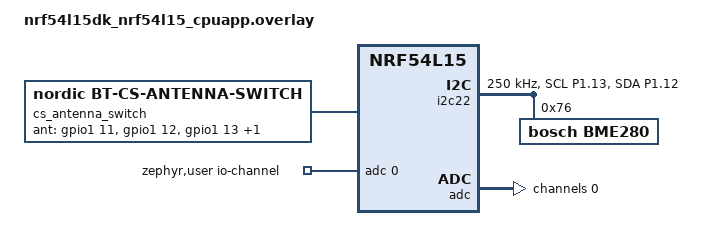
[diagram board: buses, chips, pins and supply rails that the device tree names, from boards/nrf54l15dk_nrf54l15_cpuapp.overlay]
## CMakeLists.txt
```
#
# Copyright (c) 2024 Nordic Semiconductor ASA
#
# SPDX-License-Identifier: LicenseRef-Nordic-5-Clause
#
cmake_minimum_required(VERSION 3.20.0)

find_package(Zephyr REQUIRED HINTS $ENV{ZEPHYR_BASE})
project(channel_sounding_ras_reflector_original)

# NORDIC SDK APP START
target_sources(app PRIVATE
  src/main.c
)
# NORDIC SDK APP END
```

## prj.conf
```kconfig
#
# Copyright (c) 2024 Nordic Semiconductor ASA
#
# SPDX-License-Identifier: LicenseRef-Nordic-5-Clause
#

CONFIG_NCS_SAMPLES_DEFAULTS=y
CONFIG_DK_LIBRARY=y

CONFIG_BT=y
CONFIG_BT_PERIPHERAL=y
CONFIG_BT_SMP=y
CONFIG_BT_DEVICE_NAME="Nordic CS Reflector"
CONFIG_BT_MAX_CONN=4
CONFIG_BT_MAX_PAIRED=4          
CONFIG_BT_GAP_AUTO_UPDATE_CONN_PARAMS=n
CONFIG_BT_BONDABLE=n

# The Ranging Profile recommends a MTU of at least 247 octets.
CONFIG_BT_L2CAP_TX_MTU=498
CONFIG_BT_BUF_ACL_TX_SIZE=502
CONFIG_BT_BUF_ACL_RX_SIZE=502
CONFIG_BT_CTLR_DATA_LENGTH_MAX=251
CONFIG_BT_CTLR_PHY_2M=y

# This reduces RAM usage. Additional RAM is needed to support optional
# features such as mode 3 or multiantenna. Change or remove these if
# using those features
CONFIG_BT_RAS_MODE_3_SUPPORTED=n
CONFIG_BT_RAS_MAX_ANTENNA_PATHS=1
CONFIG_BT_CTLR_SDC_CS_MAX_ANTENNA_PATHS=1
CONFIG_BT_CTLR_SDC_CS_NUM_ANTENNAS=1
CONFIG_BT_CTLR_SDC_CS_STEP_MODE3=n

# This size assumes the largest step size is mode 2 with one antenna path:
# 12 bytes * 160 steps in a subevent. Change or remove this if using mode 3
# or multiantenna.
CONFIG_BT_CHANNEL_SOUNDING_REASSEMBLY_BUFFER_SIZE=1920

# This allows CS and ACL to use different PHYs
CONFIG_BT_TRANSMIT_POWER_CONTROL=y

CONFIG_BT_CHANNEL_SOUNDING=y
CONFIG_BT_RAS=y
CONFIG_BT_RAS_RRSP=y
CONFIG_BT_EXT_ADV=y
CONFIG_BT_DEVICE_NAME="Reflector"
# Allow two advertising sets and increase buffer size
CONFIG_BT_EXT_ADV_MAX_ADV_SET=2
CONFIG_BT_CTLR_ADV_SET=2

CONFIG_I2C=y
# Enable Zephyr’s generic sensor API
CONFIG_SENSOR=y

# Turn on the Bosch BME280 driver
CONFIG_BME280=y
CONFIG_BT_CTLR_CHANNEL_SOUNDING=y
# Enable the Nordic Semiconductor Channel Sounding Controller Service
CONFIG_BT_CTLR_SDC_CS_COUNT=4
CONFIG_BT_SMP_SC_PAIR_ONLY=y
CONFIG_BT_BUF_ACL_TX_COUNT=16
CONFIG_BT_BUF_ACL_RX_COUNT=16
CONFIG_BT_L2CAP_TX_BUF_COUNT=16
CONFIG_HEAP_MEM_POOL_SIZE=49152

CONFIG_ADC=y
```

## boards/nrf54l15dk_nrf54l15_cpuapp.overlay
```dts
/*
 * Copyright (c) 2025 Nordic Semiconductor ASA
 *
 * SPDX-License-Identifier: LicenseRef-Nordic-5-Clause
 */

/ {
	cs_antenna_switch: cs-antenna-config {
		status = "okay";
		compatible = "nordic,bt-cs-antenna-switch";
		ant-gpios = <&gpio1 11 (GPIO_ACTIVE_HIGH)>,
			    <&gpio1 12 (GPIO_ACTIVE_HIGH)>,
			    <&gpio1 13 (GPIO_ACTIVE_HIGH)>,
			    <&gpio1 14 (GPIO_ACTIVE_HIGH)>;
		multiplexing-mode = <0>;
	};

	zephyr,user {
		io-channels = <&adc 0>;
	};
};

&i2c22 {
	status = "okay";
	clock-frequency = <250000>;
	pinctrl-0 = <&i2c22_default>;
	pinctrl-names = "default";
	bme280@76 {
		compatible = "bosch,bme280";
		reg = <0x76>;
	};
};

&pinctrl {
	i2c22_default: i2c22_default {
		group1 {
			psels = <NRF_PSEL(TWIM_SCL, 1, 13)>, <NRF_PSEL(TWIM_SDA, 1, 12)>;
		};
	};
};
/*
 * Copyright (c) 2025 Nordic Semiconductor ASA
 *
 * SPDX-License-Identifier: LicenseRef-Nordic-5-Clause
 */

/ {
	cs_antenna_switch: cs-antenna-config {
		status = "okay";
		compatible = "nordic,bt-cs-antenna-switch";
		ant-gpios = <&gpio1 11 (GPIO_ACTIVE_HIGH)>,
			    <&gpio1 12 (GPIO_ACTIVE_HIGH)>,
			    <&gpio1 13 (GPIO_ACTIVE_HIGH)>,
			    <&gpio1 14 (GPIO_ACTIVE_HIGH)>;
		multiplexing-mode = <0>;
	};

	zephyr,user {
		io-channels = <&adc 0>;
	};
};

&i2c22 {
	status = "okay";
	clock-frequency = <250000>;
	pinctrl-0 = <&i2c22_default>;
	pinctrl-names = "default";
	bme280@76 {
		compatible = "bosch,bme280";
		reg = <0x76>;
	};
};

&pinctrl {
	i2c22_default: i2c22_default {
		group1 {
			psels = <NRF_PSEL(TWIM_SCL, 1, 13)>, <NRF_PSEL(TWIM_SDA, 1, 12)>;
		};
	};
};

&adc {
    status = "okay";
    #address-cells = <1>;
    #size-cells = <0>;

    channel@0 {
        reg = <0>;
        zephyr,input-positive = <NRF_SAADC_AIN0>; /* P1.04 */
        zephyr,reference = "ADC_REF_INTERNAL";
        zephyr,gain = "ADC_GAIN_1_4";
        zephyr,acquisition-time = <ADC_ACQ_TIME(ADC_ACQ_TIME_MICROSECONDS, 20)>;
        zephyr,oversampling = <0>;
        /* zephyr,resolution is optional; you set it in the sequence */
    };
};
&uart20_default {
	group1 {
		psels = <NRF_PSEL(UART_TX, 1, 0)>, <NRF_PSEL(UART_RTS, 1, 6)>;
	};
};
```

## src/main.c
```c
#include <zephyr/types.h>
#include <zephyr/kernel.h>
#include <zephyr/bluetooth/bluetooth.h>
#include <zephyr/sys/reboot.h>
#include <zephyr/bluetooth/conn.h>
#include <zephyr/bluetooth/uuid.h>
#include <zephyr/bluetooth/cs.h>
#include <bluetooth/services/ras.h>
#include <zephyr/logging/log.h>
#include <zephyr/bluetooth/hci.h>
#include <zephyr/bluetooth/gatt.h>
#include <zephyr/drivers/sensor.h>
#include <zephyr/drivers/adc.h>

#define BT_UUID_CUSTOM_SERVICE_VAL   BT_UUID_128_ENCODE(0x12345678, 0x1234, 0x1234, 0x1234, 0x123456789abc)
#define BT_UUID_CUSTOM_CHAR_VAL      BT_UUID_128_ENCODE(0xabcdef01, 0x2345, 0x3456, 0x4567, 0x56789abcdef0)
#define I2C_NODE              		 DT_ALIAS(i2c2)
#define BME280_NODE 				 DT_INST(0, bosch_bme280)
#define ADC_NODE       DT_NODELABEL(adc)
#define ADC_CH_ID      0                /* we used CH0 in the UI */
#define ADC_RES        12
#define DEVICE_ID      				 1
#define MAX_CONN 					 4


static struct bt_uuid_128 custom_service_uuid = BT_UUID_INIT_128(BT_UUID_CUSTOM_SERVICE_VAL);
static struct bt_uuid_128 custom_char_uuid    = BT_UUID_INIT_128(BT_UUID_CUSTOM_CHAR_VAL);


LOG_MODULE_REGISTER(app_main, LOG_LEVEL_INF);

static struct bt_le_ext_adv *adv_conn;
static struct bt_le_ext_adv *adv_data;
static const struct device *adc_dev;
static const struct adc_dt_spec vbat_adc =
    ADC_DT_SPEC_GET_BY_IDX(DT_PATH(zephyr_user), 0);

static K_SEM_DEFINE(sem_connected, 0, 1);


static const struct bt_data ad[] = {
    BT_DATA_BYTES(BT_DATA_FLAGS, (BT_LE_AD_GENERAL | BT_LE_AD_NO_BREDR)),
	BT_DATA_BYTES(BT_DATA_UUID16_ALL, BT_UUID_16_ENCODE(BT_UUID_RANGING_SERVICE_VAL)),
	BT_DATA(BT_DATA_NAME_COMPLETE, CONFIG_BT_DEVICE_NAME, sizeof(CONFIG_BT_DEVICE_NAME) - 1),
};

static  char hello_msg[32] = "HelloBLE";
static const struct device *bme280_dev;

static struct bt_conn *connections[MAX_CONN];
static size_t conn_count;


static int find_conn_index(struct bt_conn *conn) 
{
    for (int i = 0; i < conn_count; i++) if (connections[i] == conn) return i;
    return -1;
}

static void adv_restart_work_fn(struct k_work *work)
{
    bt_le_ext_adv_stop(adv_conn);          /* ignore -EALREADY */
    k_sleep(K_MSEC(20));
    int err = bt_le_ext_adv_start(adv_conn, BT_LE_EXT_ADV_START_DEFAULT);
    if (err) { LOG_ERR("Re-start adv failed (%d)", err); }
}

static int adc_init_channel(void)
{
    if (!device_is_ready(vbat_adc.dev)) {
        LOG_ERR("ADC device not ready");
        return -ENODEV;
    }
    /* This applies gain, reference, acquisition-time, input pin from DT */
    return adc_channel_setup_dt(&vbat_adc);
}

static int read_vbat_mv(int32_t *out_mv)
{
    int16_t raw;
    struct adc_sequence seq = {
        .channels    = BIT(vbat_adc.channel_id),
        .buffer      = &raw,
        .buffer_size = sizeof(raw),
        .resolution  = ADC_RES,   /* 12, as you defined */
    };

    int err = adc_read(vbat_adc.dev, &seq);
    if (err) return err;

    int32_t pin_mv = raw;
    err = adc_raw_to_millivolts(adc_ref_internal(vbat_adc.dev),
                                vbat_adc.channel_cfg.gain,
                                ADC_RES, &pin_mv);
    if (err) return err;

    *out_mv = pin_mv * 2;  /* undo your 100k/100k divider */
    return 0;
}


K_WORK_DEFINE(adv_restart_work, adv_restart_work_fn);

static void connected_cb(struct bt_conn *conn, uint8_t err)
{
	char addr[BT_ADDR_LE_STR_LEN];

	(void)bt_addr_le_to_str(bt_conn_get_dst(conn), addr, sizeof(addr));
	LOG_INF("Connected to %s (err 0x%02X)", addr, err);

	if (err) {
		/* Connection attempt failed */
		bt_conn_unref(conn);
		return;
	}

	/* Enforce max connections */
	if (conn_count >= MAX_CONN) {
		LOG_WRN("Max connections (%d) reached, rejecting %s", MAX_CONN, addr);
		bt_conn_disconnect(conn, BT_HCI_ERR_REMOTE_USER_TERM_CONN);
		bt_conn_unref(conn);
		return;
	}

	/* Track this connection */
	connections[conn_count++] = bt_conn_ref(conn);

	/* Apply CS default settings for this link (reflector role) */
	const struct bt_le_cs_set_default_settings_param default_settings = {
		.enable_initiator_role      = false,
		.enable_reflector_role      = true,
		.cs_sync_antenna_selection  = BT_LE_CS_ANTENNA_SELECTION_OPT_REPETITIVE,
		.max_tx_power               = BT_HCI_OP_LE_CS_MAX_MAX_TX_POWER,
	};
	int err2 = bt_le_cs_set_default_settings(conn, &default_settings);
	if (err2) {
		LOG_ERR("CS default config failed for %s (err %d)", addr, err2);
	} else {
		LOG_INF("CS default config applied for %s", addr);
	}

	/* Pause the non-connectable advertising set while we accept more links */
	if (adv_data) {
		int s = bt_le_ext_adv_stop(adv_data);
		if (s && s != -EALREADY) {
			LOG_WRN("Stopping data adv failed (%d)", s);
		}
	}

	/* Re-arm connectable advertising deterministically via work item */
	if (conn_count < MAX_CONN) {
		k_work_submit(&adv_restart_work);
	}
}

static void security_changed_cb(struct bt_conn *conn, bt_security_t level,
                                enum bt_security_err sec_err)
{
	char addr[BT_ADDR_LE_STR_LEN];
	(void)bt_addr_le_to_str(bt_conn_get_dst(conn), addr, sizeof(addr));

	if (sec_err) {
		LOG_WRN("Security change on %s failed (level %d, err %d)",
		        addr, level, sec_err);
		return;
	}

	LOG_INF("Security changed on %s: level %d OK", addr, level);

	/* When the link is encrypted (L2+), resume the non-connectable adv set */
	if (level >= BT_SECURITY_L2 && adv_data) {
		int err = bt_le_ext_adv_start(adv_data, BT_LE_EXT_ADV_START_DEFAULT);
		if (err && err != -EALREADY) {
			LOG_WRN("Resuming data adv failed (%d)", err);
		} else {
			LOG_INF("✅ Data advertising resumed");
		}
	}
}

static void disconnected_cb(struct bt_conn *conn, uint8_t reason)
{
	LOG_INF("Disconnected (reason 0x%02X)", reason);

    int idx = find_conn_index(conn);
    if (idx >= 0) 
    {
        bt_conn_unref(connections[idx]);
        for (int i = idx; i < conn_count - 1; i++) 
        {
            connections[i] = connections[i + 1];
        }
        conn_count--;
    }

    if (conn_count < MAX_CONN) 
    {
        int adv_err = bt_le_ext_adv_start(adv_conn, BT_LE_EXT_ADV_START_DEFAULT);
        if (adv_err) 
        {
            LOG_ERR("Failed to restart advertising after disconnect (%d)", adv_err);
        } 
        else
        {
            LOG_INF("✅ Advertising restarted after disconnect");
        }
    }
}

static void remote_capabilities_cb(struct bt_conn *conn,uint8_t status,struct bt_conn_le_cs_capabilities *params)
{
	ARG_UNUSED(conn);
	ARG_UNUSED(params);

	if (status == BT_HCI_ERR_SUCCESS) 
    {
		LOG_INF("CS capability exchange completed.");
	}
    else 
    {
		LOG_WRN("CS capability exchange failed. (HCI status 0x%02x)", status);
	}
}

static void config_create_cb(struct bt_conn *conn,uint8_t status,struct bt_conn_le_cs_config *config)
{
	ARG_UNUSED(conn);

	if (status == BT_HCI_ERR_SUCCESS) 
    {
		LOG_INF("CS config creation complete. ID: %d", config->id);
	}
    else 
    {
		LOG_WRN("CS config creation failed. (HCI status 0x%02x)", status);
	}
}

static void security_enable_cb(struct bt_conn *conn, uint8_t status)
{
	ARG_UNUSED(conn);

	if (status == BT_HCI_ERR_SUCCESS) 
    {
		LOG_INF("CS security enabled.");
	} 
    else 
    {
		LOG_WRN("CS security enable failed. (HCI status 0x%02x)", status);
	}
}

static void procedure_enable_cb(struct bt_conn *conn,uint8_t status,struct bt_conn_le_cs_procedure_enable_complete *params)
{
	ARG_UNUSED(conn);

	if (status == BT_HCI_ERR_SUCCESS) 
    {
		if (params->state == 1) 
        {
			LOG_INF("CS procedures enabled.");
		} 
        else 
        {
			LOG_INF("CS procedures disabled.");
		}
	} 
    else 
    {
		LOG_WRN("CS procedures enable failed. (HCI status 0x%02x)", status);
	}
}

BT_CONN_CB_DEFINE(conn_cb) = {
	.connected = connected_cb,
	.disconnected = disconnected_cb,
    .security_changed = security_changed_cb,
	.le_cs_read_remote_capabilities_complete = remote_capabilities_cb,
	.le_cs_config_complete = config_create_cb,
	.le_cs_security_enable_complete = security_enable_cb,
	.le_cs_procedure_enable_complete = procedure_enable_cb,
};
static ssize_t read_hello_msg(struct bt_conn *conn, const struct bt_gatt_attr *attr,void *buf, uint16_t len, uint16_t offset)
{
	const char *value = attr->user_data;
	return bt_gatt_attr_read(conn, attr, buf, len, offset, value, strlen(value));
}

BT_GATT_SERVICE_DEFINE(custom_svc,
	BT_GATT_PRIMARY_SERVICE(&custom_service_uuid),
	BT_GATT_CHARACTERISTIC(&custom_char_uuid.uuid,
                       BT_GATT_CHRC_READ | BT_GATT_CHRC_NOTIFY,
                       BT_GATT_PERM_READ,
                       read_hello_msg,
                       NULL,
                       hello_msg),
	BT_GATT_CCC(NULL, BT_GATT_PERM_READ | BT_GATT_PERM_WRITE),
    );

int main(void)
{
    int err;

    LOG_INF("Starting Channel Sounding Reflector Sample");

    /* Enable Bluetooth */
    err = bt_enable(NULL);
    if (err) 
    {
        LOG_ERR("Bluetooth init failed (err %d)", err);
        return 0;
    }

     err = adc_init_channel();
    if (err) {
        LOG_ERR("ADC init failed (%d)", err);
        return 0;
    }

    /* Initialize BME280 sensor */
    bme280_dev = DEVICE_DT_GET(BME280_NODE);
    if (!device_is_ready(bme280_dev)) 
    {
        LOG_ERR("❌ BME280 sensor not ready");
        return 0;
    }
    LOG_INF("✅ BME280 sensor initialized");

    /* --- Set up CONNECTABLE Extended Advertising --- */
    struct bt_le_adv_param adv_conn_param = BT_LE_ADV_PARAM_INIT(BT_LE_ADV_OPT_CONNECTABLE,BT_GAP_ADV_FAST_INT_MIN_2,BT_GAP_ADV_FAST_INT_MAX_2,NULL);

    err = bt_le_ext_adv_create(&adv_conn_param, NULL, &adv_conn);
    if (err) 
    {
        LOG_ERR("Failed to create connectable adv set (%d)", err);
        return 0;
    }
    err = bt_le_ext_adv_set_data(adv_conn, ad, ARRAY_SIZE(ad), NULL, 0);
    if (err) 
    {
        LOG_ERR("Failed to set connectable adv data (%d)", err);
        return 0;
    }
    err = bt_le_ext_adv_start(adv_conn, BT_LE_EXT_ADV_START_DEFAULT);
    if (err) 
    {
        LOG_ERR("Failed to start connectable adv (%d)", err);
        return 0;
    }
    LOG_INF("✅ Connectable advertising started");

    /* --- Set up NON‑CONNECTABLE Data Advertising in parallel --- */
    char message[] = "HelloBLE";
    struct bt_data data_ad[] = {BT_DATA(BT_DATA_MANUFACTURER_DATA, message, strlen(message)),};
    struct bt_le_adv_param adv_data_param = BT_LE_ADV_PARAM_INIT(
        BT_LE_ADV_OPT_USE_NAME,
        0x00A0, 0x00F0,
        NULL
    );
    err = bt_le_ext_adv_create(&adv_data_param, NULL, &adv_data);
    if (err) 
    {
        LOG_ERR("Failed to create data adv set (%d)", err);
        return 0;
    }
    err = bt_le_ext_adv_set_data(adv_data, data_ad, ARRAY_SIZE(data_ad), NULL, 0);
    if (err) 
    {
        LOG_ERR("Failed to set data adv data (%d)", err);
        return 0;
    }
    err = bt_le_ext_adv_start(adv_data, BT_LE_EXT_ADV_START_DEFAULT);
    if (err) 
    {
        LOG_ERR("Failed to start data adv (%d)", err);
        return 0;
    }
    LOG_INF("✅ Parallel data advertising started");

    while (true) 
    {
        if (conn_count == 0) 
        {
            k_sleep(K_SECONDS(1));
            continue;
        }
        struct sensor_value tv, pv, hv;
        /* --- Read VBAT (mV) --- */
        int32_t vbat_mv = -1;
        int v_err = read_vbat_mv(&vbat_mv);
        // if (v_err == 0) {
        //     LOG_INF("🔋 Battery voltage = %d mV", vbat_mv);
        // } else {
        //     LOG_WRN("VBAT read failed (%d)", v_err);
        // }

        if (sensor_sample_fetch(bme280_dev) == 0 && sensor_channel_get(bme280_dev, SENSOR_CHAN_AMBIENT_TEMP, &tv) == 0 && sensor_channel_get(bme280_dev, SENSOR_CHAN_PRESS,     &pv) == 0 && sensor_channel_get(bme280_dev, SENSOR_CHAN_HUMIDITY,  &hv) == 0) 
        {
            float t = sensor_value_to_double(&tv);
            float p = sensor_value_to_double(&pv);
            float h = sensor_value_to_double(&hv);
            int bat = vbat_mv /10;
            snprintf(hello_msg, sizeof(hello_msg),"D%dTM%dPR%dHM%dBT%d",DEVICE_ID,(int)(t * 10),(int)(p * 10),(int)(h * 10),bat);
        } 
        else 
        {
            strcpy(hello_msg, "TMERR");
            LOG_WRN("⚠️ Failed to read BME280");
        }
        err = bt_gatt_notify(NULL,&custom_svc.attrs[1],hello_msg,strlen(hello_msg));
        if (err) 
		{
            LOG_WRN("Notify failed (err %d)", err);
        } 
		else
		{
            LOG_INF("🔔 Sent: %s", hello_msg);
        }

        k_sleep(K_SECONDS(1));
    }
    return 0;
}
```
